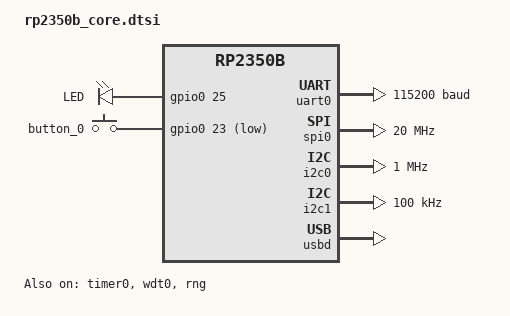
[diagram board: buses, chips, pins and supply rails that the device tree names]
/*
 * Copyright (c) 2026 MASSDRIVER EI (massdriver.space)
 *
 * SPDX-License-Identifier: Apache-2.0
 */

#include <freq.h>

#include <zephyr/dt-bindings/i2c/i2c.h>
#include <zephyr/dt-bindings/pwm/pwm.h>
#include <zephyr/dt-bindings/input/input-event-codes.h>

#include "rp2350b_core-pinctrl.dtsi"

/ {
	chosen {
		zephyr,sram = &sram0;
		zephyr,flash = &flash0;
		zephyr,flash-controller = &qmi;
		zephyr,code-partition = &slot0_partition;
		uart,passthrough = &uart0;
	};

	aliases {
		watchdog0 = &wdt0;
	};

	leds {
		compatible = "gpio-leds";

		led0: led_0 {
			gpios = <&gpio0 25 GPIO_ACTIVE_HIGH>;
			label = "LED";
		};
	};

	pwm_leds {
		compatible = "pwm-leds";
		status = "disabled";

		pwm_led0: pwm_led_0 {
			pwms = <&pwm 9 PWM_MSEC(20) PWM_POLARITY_NORMAL>;
			label = "PWM_LED";
		};
	};

	buttons {
		compatible = "gpio-keys";

		button_0: sw0 {
			gpios = <&gpio0 23 GPIO_ACTIVE_LOW>;
			zephyr,code = <INPUT_KEY_0>;
		};
	};

	aliases {
		led0 = &led0;
		pwm-led0 = &pwm_led0;
		sw0 = &button_0;
	};
};

&flash0 {
	reg = <0x10000000 DT_SIZE_M(16)>;
	status = "okay";

	partitions {
		compatible = "fixed-partitions";
		#address-cells = <0x1>;
		#size-cells = <0x1>;

		slot0_partition: partition@0 {
			label = "image-0";
			reg = <0x0 0x400000>;
		};

		slot1_partition: partition@400000 {
			label = "image-1";
			reg = <0x400000 0x400000>;
		};

		storage_partition: partition@800000 {
			label = "storage";
			reg = <0x800000 0x800000>;
		};
	};
};

&uart0 {
	current-speed = <115200>;
	status = "okay";
	pinctrl-0 = <&uart0_default>;
	pinctrl-names = "default";
};

gpio0_lo: &gpio0 {
	status = "okay";
};

gpio1: &gpio0_hi {
	status = "okay";
};

&spi0 {
	clock-frequency = <DT_FREQ_M(20)>;
	pinctrl-0 = <&spi0_default>;
	pinctrl-names = "default";
	status = "okay";
};

&i2c0 {
	clock-frequency = <I2C_BITRATE_FAST_PLUS>;
	pinctrl-0 = <&i2c0_default>;
	pinctrl-names = "default";
	status = "okay";
};

&i2c1 {
	clock-frequency = <I2C_BITRATE_STANDARD>;
	pinctrl-0 = <&i2c1_default>;
	pinctrl-names = "default";
	status = "okay";
};

&pwm {
	pinctrl-0 = <&pwm_ch4b_default>;
	pinctrl-names = "default";
	divider-int-0 = <255>;
};

&timer0 {
	status = "okay";
};

&wdt0 {
	status = "okay";
};

&rng {
	status = "okay";
};

zephyr_udc0: &usbd {
	status = "okay";
};

#include <../boards/common/usb/cdc_acm_serial.dtsi>
